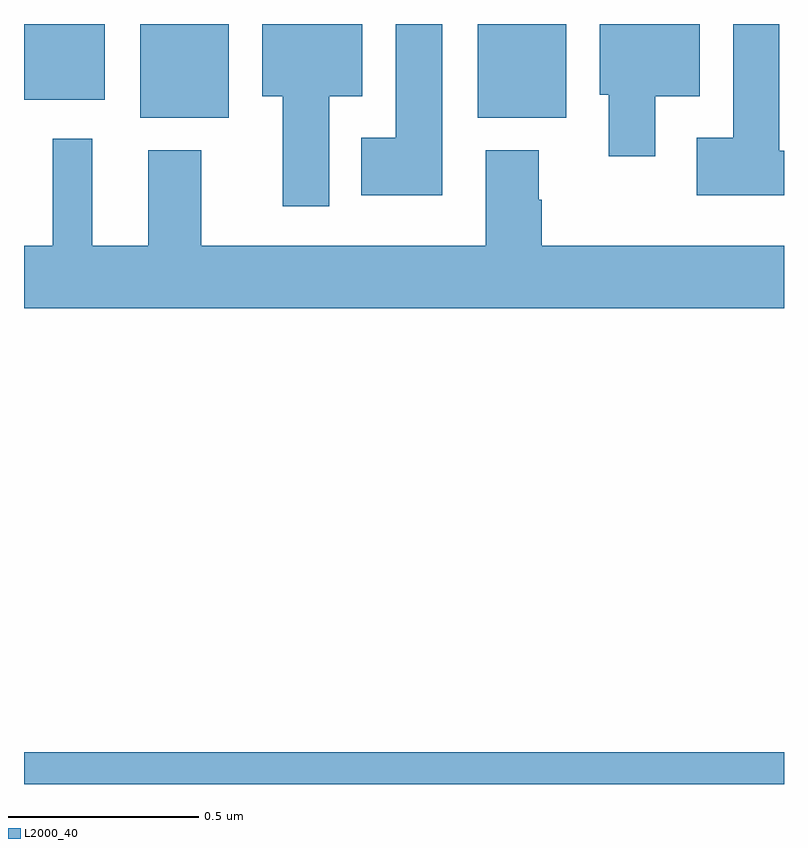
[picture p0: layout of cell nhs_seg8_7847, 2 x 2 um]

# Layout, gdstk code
import gdstk
lib = gdstk.Library(unit=1e-6, precision=1e-09)
def R(c, l, rs):  # rectangles x0, y0, x1, y1
    for r in rs: c.add(gdstk.rectangle(r[:2], r[2:], *l))
def P(c, l, *ps):  # polygons
    for p in ps: c.add(gdstk.Polygon(p, *l))
L2000_40 = (2000, 40)

nhs_seg8_7847 = lib.new_cell('nhs_seg8_7847')
R(nhs_seg8_7847, L2000_40, [(215,1129.9,217,1129.984), (215.306,1131.653,215.539,1131.9), (216.194,1131.653,216.427,1131.9), (215,1131.701,215.212,1131.9)])
P(nhs_seg8_7847, L2000_40, [(216.1,1131.9),(215.978,1131.9),(215.978,1131.601),(215.888,1131.601),(215.888,1131.449),(216.1,1131.449)],
  [(215.803,1131.71),(215.89,1131.71),(215.89,1131.9),(215.627,1131.9),(215.627,1131.71),(215.681,1131.71),(215.681,1131.42),(215.803,1131.42)],
  [(216.661,1131.71),(216.778,1131.71),(216.778,1131.9),(216.515,1131.9),(216.515,1131.714),(216.539,1131.714),(216.539,1131.552),(216.661,1131.552)],
  [(217,1131.567),(216.988,1131.567),(216.988,1131.9),(216.866,1131.9),(216.866,1131.601),(216.771,1131.601),(216.771,1131.449),(217,1131.449)],
  [(217,1131.316),(216.363,1131.316),(216.363,1131.437),(216.355,1131.437),(216.355,1131.568),(216.215,1131.568),(216.215,1131.316),(215.467,1131.316),(215.467,1131.568),(215.327,1131.568),(215.327,1131.316),(215.179,1131.316),(215.179,1131.598),(215.075,1131.598),(215.075,1131.316),(215,1131.316),(215,1131.152),(217,1131.152)])

lib.write_gds('nhs_seg8_7847.gds')
